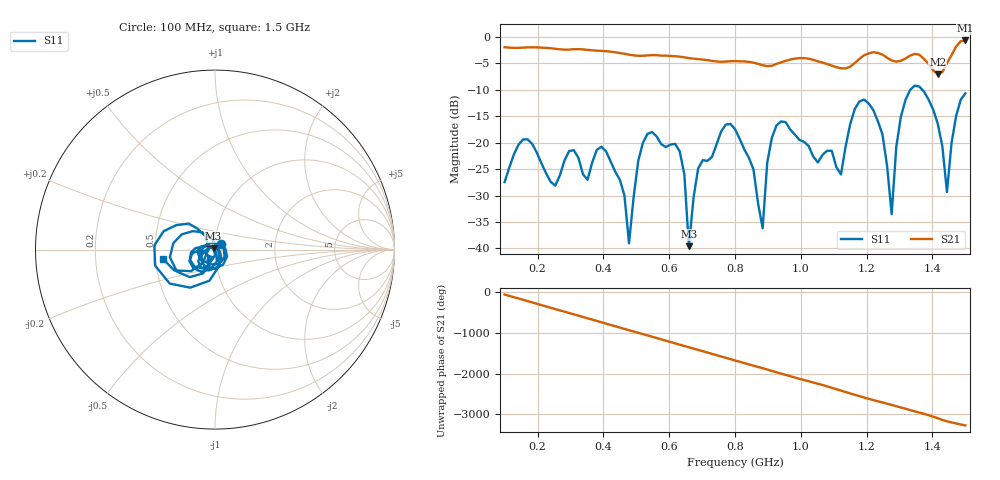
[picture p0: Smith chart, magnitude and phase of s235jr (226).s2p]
! NanoVNA-App
! Date: 2025-09-25 15:05:55
! Start: 100MHz Stop: 1,5GHz Points: 101
! S-Parameter data: F S11 S21 S12 S22
# Hz S RI R 50
!  Frequency  S11_Real  S11_Imag  S21_Real  S21_Imag  S12_Real  S12_Imag  S22_Real  S22_Imag
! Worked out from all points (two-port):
!   101 points, 100 MHz to 1.5 GHz, reference 50 ohm
!   highest |S21| = -0.69 dB at 1.5 GHz (marker M1); lowest = -7.1 dB at 1.416 GHz (marker M2)
!   |S21| within 3 dB of the highest: start of sweep to 621.7 MHz; 1.188 GHz to 1.256 GHz (67.77 MHz wide, 5.55 % of centre) (the widest 2 of 4)
!   lowest |S11| = -39.6 dB at 660 MHz (marker M3), VSWR 1.02, Z = 49.2 + j0.635 ohm
!   |S11| at or under -10 dB: start of sweep to 1.332 GHz; 1.369 GHz to end of sweep
!   S12 and S22 are empty: the file has one direction only
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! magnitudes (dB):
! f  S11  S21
! 100 MHz  -27.5  -2.0
! 156 MHz  -19.4  -2.0
! 338 MHz  -26.0  -2.4
! 408 MHz  -21.6  -2.7
! 478 MHz  -39.0  -3.4
! 520 MHz  -20.1  -3.6
! 576 MHz  -20.3  -3.5
! 632 MHz  -21.7  -3.7
! 660 MHz  -39.6  -4.0
! 688 MHz  -24.9  -4.2
! 800 MHz  -17.4  -4.6
! 884 MHz  -36.2  -5.4
! 926 MHz  -16.8  -5.1
! 1.038 GHz  -22.7  -4.4
! 1.122 GHz  -26.0  -5.9
! 1.192 GHz  -11.9  -3.5
! 1.248 GHz  -18.5  -3.4
! 1.276 GHz  -33.5  -4.5
! 1.332 GHz  -10.0  -3.5
! 1.416 GHz  -16.4  -7.1
! 1.444 GHz  -29.3  -5.0
! 1.5 GHz  -10.7  -0.7
